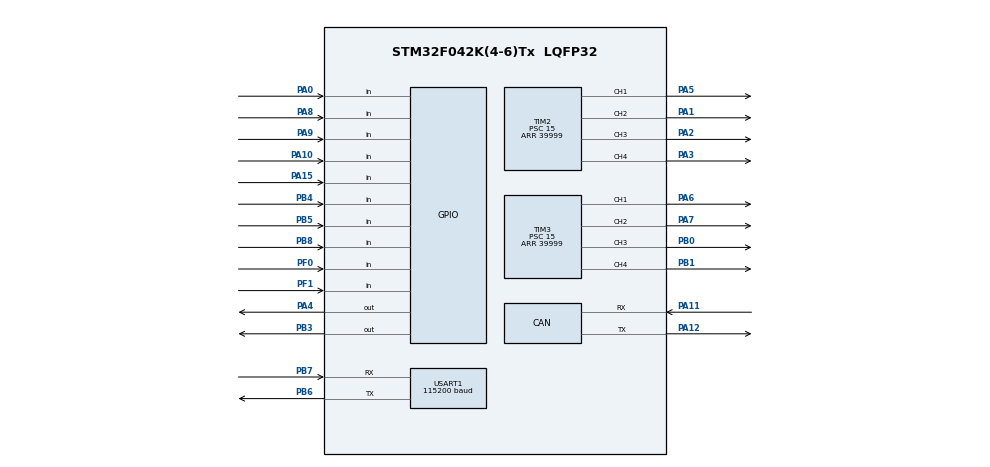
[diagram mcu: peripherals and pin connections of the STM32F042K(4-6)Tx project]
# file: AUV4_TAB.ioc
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CAN.CalculateTimeQuantum=2000.0
Mcu.Family=STM32F0
Mcu.Name=STM32F042K(4-6)Tx
Mcu.Package=LQFP32
NVIC.CEC_CAN_IRQn=true\:0\:0\:false\:true\:true\:2\:true\:true
NVIC.USART1_IRQn=true\:0\:0\:false\:true\:true\:1\:true\:true
PA0.GPIO_PuPd=GPIO_PULLDOWN
PA0.Signal=GPIO_Input
PA1.Signal=S_TIM2_CH2
PA10.GPIO_PuPd=GPIO_PULLDOWN
PA10.Signal=GPIO_Input
PA11.Mode=Master
PA11.Signal=CAN_RX
PA12.Mode=Master
PA12.Signal=CAN_TX
PA13.Mode=Serial_Wire
PA13.Signal=SYS_SWDIO
PA14.Mode=Serial_Wire
PA14.Signal=SYS_SWCLK
PA15.GPIO_PuPd=GPIO_PULLDOWN
PA15.Signal=GPIO_Input
PA2.Signal=S_TIM2_CH3
PA3.Signal=S_TIM2_CH4
PA4.Signal=GPIO_Output
PA5.Signal=S_TIM2_CH1_ETR
PA6.Signal=S_TIM3_CH1
PA7.Signal=S_TIM3_CH2
PA8.GPIO_PuPd=GPIO_PULLDOWN
PA8.Signal=GPIO_Input
PA9.GPIO_PuPd=GPIO_PULLDOWN
PA9.Signal=GPIO_Input
PB0.Signal=S_TIM3_CH3
PB1.Signal=S_TIM3_CH4
PB3.Signal=GPIO_Output
PB4.GPIO_PuPd=GPIO_PULLDOWN
PB4.Signal=GPIO_Input
PB5.GPIO_PuPd=GPIO_PULLDOWN
PB5.Signal=GPIO_Input
PB6.Mode=Asynchronous
PB6.Signal=USART1_TX
PB7.Mode=Asynchronous
PB7.Signal=USART1_RX
PB8.GPIO_PuPd=GPIO_PULLDOWN
PB8.Signal=GPIO_Input
PF0-OSC_IN.GPIO_PuPd=GPIO_PULLDOWN
PF0-OSC_IN.Signal=GPIO_Input
PF1-OSC_OUT.GPIO_PuPd=GPIO_PULLDOWN
PF1-OSC_OUT.Signal=GPIO_Input
ProjectManager.HeapSize=0x200
ProjectManager.StackSize=0x400
ProjectManager.TargetToolchain=STM32CubeIDE
RCC.AHBFreq_Value=8000000
RCC.APB1Freq_Value=8000000
RCC.APB1TimFreq_Value=8000000
RCC.HCLKFreq_Value=8000000
RCC.HSE_VALUE=32000000
RCC.SYSCLKFreq_VALUE=8000000
SH.S_TIM2_CH1_ETR.0=TIM2_CH1,PWM Generation1 CH1
SH.S_TIM2_CH2.0=TIM2_CH2,PWM Generation2 CH2
SH.S_TIM2_CH3.0=TIM2_CH3,PWM Generation3 CH3
SH.S_TIM2_CH4.0=TIM2_CH4,PWM Generation4 CH4
SH.S_TIM3_CH1.0=TIM3_CH1,PWM Generation1 CH1
SH.S_TIM3_CH2.0=TIM3_CH2,PWM Generation2 CH2
SH.S_TIM3_CH3.0=TIM3_CH3,PWM Generation3 CH3
SH.S_TIM3_CH4.0=TIM3_CH4,PWM Generation4 CH4
TIM2.Channel-PWM\ Generation1\ CH1=TIM_CHANNEL_1
TIM2.Channel-PWM\ Generation2\ CH2=TIM_CHANNEL_2
TIM2.Channel-PWM\ Generation3\ CH3=TIM_CHANNEL_3
TIM2.Channel-PWM\ Generation4\ CH4=TIM_CHANNEL_4
TIM2.Period=39999
TIM2.Prescaler=15
TIM2.Pulse-PWM\ Generation1\ CH1=2999
TIM2.Pulse-PWM\ Generation2\ CH2=2999
TIM2.Pulse-PWM\ Generation3\ CH3=2999
TIM2.Pulse-PWM\ Generation4\ CH4=2999
TIM3.Channel-PWM\ Generation1\ CH1=TIM_CHANNEL_1
TIM3.Channel-PWM\ Generation2\ CH2=TIM_CHANNEL_2
TIM3.Channel-PWM\ Generation3\ CH3=TIM_CHANNEL_3
TIM3.Channel-PWM\ Generation4\ CH4=TIM_CHANNEL_4
TIM3.Period=39999
TIM3.Prescaler=15
TIM3.Pulse-PWM\ Generation1\ CH1=2999
TIM3.Pulse-PWM\ Generation2\ CH2=2999
TIM3.Pulse-PWM\ Generation3\ CH3=2999
TIM3.Pulse-PWM\ Generation4\ CH4=2999
USART1.BaudRate=115200
USART1.VirtualMode-Asynchronous=VM_ASYNC
VP_TIM2_VS_ClockSourceINT.Mode=Internal
VP_TIM3_VS_ClockSourceINT.Mode=Internal
board=custom

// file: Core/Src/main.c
/* USER CODE BEGIN Header */
/**
  ******************************************************************************
  * @file           : main.c
  * @brief          : Main program body
  ******************************************************************************
  * @attention
  *
  * <h2><center>&copy; Copyright (c) 2020 STMicroelectronics.
  * All rights reserved.</center></h2>
  *
  * This software component is licensed by ST under BSD 3-Clause license,
  * the "License"; You may not use this file except in compliance with the
  * License. You may obtain a copy of the License at:
  *                        opensource.org/licenses/BSD-3-Clause
  *
  ******************************************************************************
  */
/* USER CODE END Header */

#include "main.h"
#include <stdlib.h>

/* USER CODE BEGIN Includes */
#include "can_lib.h"
/* USER CODE END Includes */

/* USER CODE BEGIN PD */
#define SIGNATURE 0x3F
/* USER CODE END PD */

CAN_HandleTypeDef hcan;

TIM_HandleTypeDef htim2;
TIM_HandleTypeDef htim3;

UART_HandleTypeDef huart1;

void SystemClock_Config(void);
static void MX_GPIO_Init(void);
static void MX_CAN_Init(void);
static void MX_TIM2_Init(void);
static void MX_TIM3_Init(void);
static void MX_USART1_UART_Init(void);
static void MX_NVIC_Init(void);
/* USER CODE BEGIN PFP */
void Set_PWM(TIM_HandleTypeDef *htim, uint32_t Channel, uint16_t val);
void checkCANmsg(void);

void CAN_RecvStart();

/* USER CODE END PFP */

/* USER CODE BEGIN 0 */
// CAN Buffer
uint8_t bufFifo0[8] = {0};
uint8_t bufFifo1[8] = {0};

// CAN Tick
uint32_t prevHBTick = 0;
uint32_t prevPWMTick = 0;
uint32_t prevConfigTick = 0;

// Thruster RPM
uint16_t thruster1RPM = 0;
uint16_t thruster2RPM = 0;
uint16_t thruster3RPM = 0;
uint16_t thruster4RPM = 0;
uint16_t thruster5RPM = 0;
uint16_t thruster6RPM = 0;
uint16_t thruster7RPM = 0;
uint16_t thruster8RPM = 0;

// CAN Update Interval
uint16_t rpmInterval = 1000;
uint16_t pwmInterval = 1000;
uint16_t statusInterval = 1000;
uint16_t actInterval = 1000;

//thruster latch
uint32_t prevframe1tick = 0;
uint32_t prevframe2tick = 0;
uint32_t frame1flag = 0;
uint32_t frame2flag = 0;
uint32_t frame1interval = 500;
uint32_t frame2interval = 500;

// CAN
uint8_t* CAN_recvMsgBuf;
uint8_t CAN_WP = 0;
uint8_t CAN_RP = 0;
uint8_t CAN_full = 0;

/* USER CODE END 0 */

int main(void)
{

  /* MCU Configuration--------------------------------------------------------*/

  /* Reset of all peripherals, Initializes the Flash interface and the Systick. */
  HAL_Init();

  /* Configure the system clock */
  SystemClock_Config();

  /* Initialize all configured peripherals */
  MX_GPIO_Init();
  MX_CAN_Init();
  MX_TIM2_Init();
  MX_TIM3_Init();
  MX_USART1_UART_Init();

  /* Initialize interrupts */
  MX_NVIC_Init();
  /* USER CODE BEGIN 2 */
  CAN_Begin(CAN_MODE_NORMAL);
  CAN_SetFilter(0x0F, 0xF0, 0x0F, 0xF0, 1, CAN_RX_FIFO0);
  CAN_SetFilter(0x00, 0x00, 0x00, 0x00, 2, CAN_RX_FIFO1);
  CAN_RecvStart();

  HAL_TIM_PWM_Start_IT(&htim2, TIM_CHANNEL_1);
  HAL_TIM_PWM_Start_IT(&htim2, TIM_CHANNEL_2);
  HAL_TIM_PWM_Start_IT(&htim2, TIM_CHANNEL_3);
  HAL_TIM_PWM_Start_IT(&htim2, TIM_CHANNEL_4);

  HAL_TIM_PWM_Start_IT(&htim3, TIM_CHANNEL_1);
  HAL_TIM_PWM_Start_IT(&htim3, TIM_CHANNEL_2);
  HAL_TIM_PWM_Start_IT(&htim3, TIM_CHANNEL_3);
  HAL_TIM_PWM_Start_IT(&htim3, TIM_CHANNEL_4);
  /* USER CODE END 2 */

  do{
  		CAN_recvMsgBuf = (uint8_t*) malloc(256*sizeof(uint8_t));
  	} while (CAN_recvMsgBuf == NULL);
  CAN_RecvStart();

  /* Infinite loop */
  while (1)
  {
	  if (CAN_WP != CAN_RP ){
		  UpdatePWM();
	  }

    /* USER CODE BEGIN 3 */
//	  __HAL_TIM_SET_COMPARE(&htim3, TIM_CHANNEL_4, 2499);

	  if(frame1flag == 1)
	  {
		  prevframe1tick = HAL_GetTick();
		  frame1flag = 0;
	  }
	  if((HAL_GetTick() - prevframe1tick) >= frame1interval)
	  {
			__HAL_TIM_SET_COMPARE(&htim3, TIM_CHANNEL_1, 2999);
			__HAL_TIM_SET_COMPARE(&htim3, TIM_CHANNEL_2, 2999);
			__HAL_TIM_SET_COMPARE(&htim3, TIM_CHANNEL_3, 2999);
			__HAL_TIM_SET_COMPARE(&htim3, TIM_CHANNEL_4, 2999);
	  }

	  if(frame2flag == 1)
	  {
		  prevframe2tick = HAL_GetTick();
		  frame2flag = 0;
	  }
	  if((HAL_GetTick() - prevframe2tick) >= frame2interval)
	  {
			__HAL_TIM_SET_COMPARE(&htim2, TIM_CHANNEL_1, 2999);
			__HAL_TIM_SET_COMPARE(&htim2, TIM_CHANNEL_2, 2999);
			__HAL_TIM_SET_COMPARE(&htim2, TIM_CHANNEL_3, 2999);
			__HAL_TIM_SET_COMPARE(&htim2, TIM_CHANNEL_4, 2999);
	  }

	  // CAN Heartbeat
	  if((HAL_GetTick() - prevHBTick) >= 500)
	  {
		  uint8_t buf[1] = {0x04};
		  CAN_SendMsg(4, buf, 1);
		  HAL_GPIO_TogglePin(GPIOB, GPIO_PIN_3);
		  prevHBTick = HAL_GetTick();
	  }

	  // CAN PWM
	  if((HAL_GetTick() - prevPWMTick) >= 1000) //change back to 1000
	  {
		  uint8_t buf[8] = {0};

		  buf[0] = __HAL_TIM_GET_COMPARE(&htim3, TIM_CHANNEL_1) & 0x0FF;
		  buf[1] = (__HAL_TIM_GET_COMPARE(&htim3, TIM_CHANNEL_1) >> 8) & 0x0FF;
		  buf[2] = __HAL_TIM_GET_COMPARE(&htim3, TIM_CHANNEL_2) & 0x0FF;
		  buf[3] = (__HAL_TIM_GET_COMPARE(&htim3, TIM_CHANNEL_2) >> 8) & 0x0FF;
		  buf[4] = __HAL_TIM_GET_COMPARE(&htim3, TIM_CHANNEL_3)  & 0x0FF;
		  buf[5] = (__HAL_TIM_GET_COMPARE(&htim3, TIM_CHANNEL_3) >> 8) & 0x0FF;
		  buf[6] = __HAL_TIM_GET_COMPARE(&htim3, TIM_CHANNEL_4) & 0x0FF;
		  buf[7] = (__HAL_TIM_GET_COMPARE(&htim3, TIM_CHANNEL_4) >> 8) & 0x0FF;
		  CAN_SendMsg(19, buf, 8);

		  buf[0] = __HAL_TIM_GET_COMPARE(&htim2, TIM_CHANNEL_1) & 0x0FF;
		  buf[1] = (__HAL_TIM_GET_COMPARE(&htim2, TIM_CHANNEL_1) >> 8) & 0x0FF;
		  buf[2] = __HAL_TIM_GET_COMPARE(&htim2, TIM_CHANNEL_2) & 0x0FF;
		  buf[3] = (__HAL_TIM_GET_COMPARE(&htim2, TIM_CHANNEL_2) >> 8) & 0x0FF;
		  buf[4] = __HAL_TIM_GET_COMPARE(&htim2, TIM_CHANNEL_3)  & 0x0FF;
	  	  buf[5] = (__HAL_TIM_GET_COMPARE(&htim2, TIM_CHANNEL_3) >> 8) & 0x0FF;
		  buf[6] = __HAL_TIM_GET_COMPARE(&htim2, TIM_CHANNEL_4) & 0x0FF;
		  buf[7] = (__HAL_TIM_GET_COMPARE(&htim2, TIM_CHANNEL_4) >> 8) & 0x0FF;
		  CAN_SendMsg(20, buf, 8);

		  prevPWMTick = HAL_GetTick();
	  }

	  // CAN RPM
	  if((HAL_GetTick() - prevConfigTick) >= 1000)
	  {
		  uint8_t buf[8] = {0};

		  buf[0] = thruster1RPM & 0x0FF;
		  buf[1] = (thruster1RPM >> 8) & 0x0FF;
		  buf[2] = thruster2RPM & 0x0FF;
		  buf[3] = (thruster2RPM >> 8) & 0x0FF;
		  buf[4] = thruster3RPM & 0x0FF;
		  buf[5] = (thruster3RPM >> 8) & 0x0FF;
		  buf[6] = thruster4RPM & 0x0FF;
		  buf[7] = (thruster4RPM >> 8) & 0x0FF;
		  CAN_SendMsg(17, buf, 8);

		  buf[0] = thruster5RPM & 0x0FF;
		  buf[1] = (thruster5RPM >> 8) & 0x0FF;
		  buf[2] = thruster6RPM & 0x0FF;
		  buf[3] = (thruster6RPM >> 8) & 0x0FF;
		  buf[4] = thruster7RPM & 0x0FF;
		  buf[5] = (thruster7RPM >> 8) & 0x0FF;
		  buf[6] = thruster8RPM & 0x0FF;
		  buf[7] = (thruster8RPM >> 8) & 0x0FF;
		  CAN_SendMsg(18, buf, 8);

		  prevConfigTick = HAL_GetTick();
	  }

	  // CAN Status
	  if((HAL_GetTick() - prevConfigTick) >= 1000)
	  {
		  uint8_t buf[8] = {0};

		  uint16_t uptime = (HAL_GetTick() >> 9) & 0x00FF;

		  buf[7] = (uptime >> 8) & 0x00FF;
		  buf[6] = uptime & 0x00FF;
		  buf[5] = SIGNATURE;

		  CAN_SendMsg(22, buf, 8);
		  prevConfigTick = HAL_GetTick();
	  }
  }
  /* USER CODE END 3 */
}

void SystemClock_Config(void)
{
  RCC_OscInitTypeDef RCC_OscInitStruct = {0};
  RCC_ClkInitTypeDef RCC_ClkInitStruct = {0};
  RCC_PeriphCLKInitTypeDef PeriphClkInit = {0};

  /** Initializes the CPU, AHB and APB busses clocks
  */
  RCC_OscInitStruct.OscillatorType = RCC_OSCILLATORTYPE_HSI48;
  RCC_OscInitStruct.HSI48State = RCC_HSI48_ON;
  RCC_OscInitStruct.PLL.PLLState = RCC_PLL_NONE;
  if (HAL_RCC_OscConfig(&RCC_OscInitStruct) != HAL_OK)
  {
    Error_Handler();
  }
  /** Initializes the CPU, AHB and APB busses clocks
  */
  RCC_ClkInitStruct.ClockType = RCC_CLOCKTYPE_HCLK|RCC_CLOCKTYPE_SYSCLK
                              |RCC_CLOCKTYPE_PCLK1;
  RCC_ClkInitStruct.SYSCLKSource = RCC_SYSCLKSOURCE_HSI48;
  RCC_ClkInitStruct.AHBCLKDivider = RCC_SYSCLK_DIV1;
  RCC_ClkInitStruct.APB1CLKDivider = RCC_HCLK_DIV1;

  if (HAL_RCC_ClockConfig(&RCC_ClkInitStruct, FLASH_LATENCY_1) != HAL_OK)
  {
    Error_Handler();
  }
  PeriphClkInit.PeriphClockSelection = RCC_PERIPHCLK_USART1;
  PeriphClkInit.Usart1ClockSelection = RCC_USART1CLKSOURCE_PCLK1;
  if (HAL_RCCEx_PeriphCLKConfig(&PeriphClkInit) != HAL_OK)
  {
    Error_Handler();
  }
}

/**
  * @brief NVIC Configuration.
  * @retval None
  */
static void MX_NVIC_Init(void)
{
  /* USART1_IRQn interrupt configuration */
  HAL_NVIC_SetPriority(USART1_IRQn, 0, 0);
  HAL_NVIC_EnableIRQ(USART1_IRQn);
  /* CEC_CAN_IRQn interrupt configuration */
  HAL_NVIC_SetPriority(CEC_CAN_IRQn, 0, 0);
  HAL_NVIC_EnableIRQ(CEC_CAN_IRQn);
}

static void MX_CAN_Init(void)
{

  hcan.Instance = CAN;
  hcan.Init.Prescaler = 3;
  hcan.Init.Mode = CAN_MODE_NORMAL;
  hcan.Init.SyncJumpWidth = CAN_SJW_1TQ;
  hcan.Init.TimeSeg1 = CAN_BS1_13TQ;
  hcan.Init.TimeSeg2 = CAN_BS2_2TQ;
  hcan.Init.TimeTriggeredMode = DISABLE;
  hcan.Init.AutoBusOff = DISABLE;
  hcan.Init.AutoWakeUp = DISABLE;
  hcan.Init.AutoRetransmission = DISABLE;
  hcan.Init.ReceiveFifoLocked = DISABLE;
  hcan.Init.TransmitFifoPriority = DISABLE;
  if (HAL_CAN_Init(&hcan) != HAL_OK)
  {
    Error_Handler();
  }

}

static void MX_TIM2_Init(void)
{

  TIM_ClockConfigTypeDef sClockSourceConfig = {0};
  TIM_MasterConfigTypeDef sMasterConfig = {0};
  TIM_OC_InitTypeDef sConfigOC = {0};

  htim2.Instance = TIM2;
  htim2.Init.Prescaler = 23;
  htim2.Init.CounterMode = TIM_COUNTERMODE_UP;
  htim2.Init.Period = 39999;
  htim2.Init.ClockDivision = TIM_CLOCKDIVISION_DIV1;
  htim2.Init.AutoReloadPreload = TIM_AUTORELOAD_PRELOAD_DISABLE;
  if (HAL_TIM_Base_Init(&htim2) != HAL_OK)
  {
    Error_Handler();
  }
  sClockSourceConfig.ClockSource = TIM_CLOCKSOURCE_INTERNAL;
  if (HAL_TIM_ConfigClockSource(&htim2, &sClockSourceConfig) != HAL_OK)
  {
    Error_Handler();
  }
  if (HAL_TIM_PWM_Init(&htim2) != HAL_OK)
  {
    Error_Handler();
  }
  sMasterConfig.MasterOutputTrigger = TIM_TRGO_RESET;
  sMasterConfig.MasterSlaveMode = TIM_MASTERSLAVEMODE_DISABLE;
  if (HAL_TIMEx_MasterConfigSynchronization(&htim2, &sMasterConfig) != HAL_OK)
  {
    Error_Handler();
  }
  sConfigOC.OCMode = TIM_OCMODE_PWM1;
  sConfigOC.Pulse = 2999;
  sConfigOC.OCPolarity = TIM_OCPOLARITY_HIGH;
  sConfigOC.OCFastMode = TIM_OCFAST_DISABLE;
  if (HAL_TIM_PWM_ConfigChannel(&htim2, &sConfigOC, TIM_CHANNEL_1) != HAL_OK)
  {
    Error_Handler();
  }
  if (HAL_TIM_PWM_ConfigChannel(&htim2, &sConfigOC, TIM_CHANNEL_2) != HAL_OK)
  {
    Error_Handler();
  }
  if (HAL_TIM_PWM_ConfigChannel(&htim2, &sConfigOC, TIM_CHANNEL_3) != HAL_OK)
  {
    Error_Handler();
  }
  if (HAL_TIM_PWM_ConfigChannel(&htim2, &sConfigOC, TIM_CHANNEL_4) != HAL_OK)
  {
    Error_Handler();
  }
  HAL_TIM_MspPostInit(&htim2);

}

static void MX_TIM3_Init(void)
{

  TIM_ClockConfigTypeDef sClockSourceConfig = {0};
  TIM_MasterConfigTypeDef sMasterConfig = {0};
  TIM_OC_InitTypeDef sConfigOC = {0};

  htim3.Instance = TIM3;
  htim3.Init.Prescaler = 23;
  htim3.Init.CounterMode = TIM_COUNTERMODE_UP;
  htim3.Init.Period = 39999;
  htim3.Init.ClockDivision = TIM_CLOCKDIVISION_DIV1;
  htim3.Init.AutoReloadPreload = TIM_AUTORELOAD_PRELOAD_DISABLE;
  if (HAL_TIM_Base_Init(&htim3) != HAL_OK)
  {
    Error_Handler();
  }
  sClockSourceConfig.ClockSource = TIM_CLOCKSOURCE_INTERNAL;
  if (HAL_TIM_ConfigClockSource(&htim3, &sClockSourceConfig) != HAL_OK)
  {
    Error_Handler();
  }
  if (HAL_TIM_PWM_Init(&htim3) != HAL_OK)
  {
    Error_Handler();
  }
  sMasterConfig.MasterOutputTrigger = TIM_TRGO_RESET;
  sMasterConfig.MasterSlaveMode = TIM_MASTERSLAVEMODE_DISABLE;
  if (HAL_TIMEx_MasterConfigSynchronization(&htim3, &sMasterConfig) != HAL_OK)
  {
    Error_Handler();
  }
  sConfigOC.OCMode = TIM_OCMODE_PWM1;
  sConfigOC.Pulse = 2999;
  sConfigOC.OCPolarity = TIM_OCPOLARITY_HIGH;
  sConfigOC.OCFastMode = TIM_OCFAST_DISABLE;
  if (HAL_TIM_PWM_ConfigChannel(&htim3, &sConfigOC, TIM_CHANNEL_1) != HAL_OK)
  {
    Error_Handler();
  }
  if (HAL_TIM_PWM_ConfigChannel(&htim3, &sConfigOC, TIM_CHANNEL_2) != HAL_OK)
  {
    Error_Handler();
  }
  if (HAL_TIM_PWM_ConfigChannel(&htim3, &sConfigOC, TIM_CHANNEL_3) != HAL_OK)
  {
    Error_Handler();
  }
  if (HAL_TIM_PWM_ConfigChannel(&htim3, &sConfigOC, TIM_CHANNEL_4) != HAL_OK)
  {
    Error_Handler();
  }
  HAL_TIM_MspPostInit(&htim3);

}

static void MX_USART1_UART_Init(void)
{

  huart1.Instance = USART1;
  huart1.Init.BaudRate = 115200;
  huart1.Init.WordLength = UART_WORDLENGTH_8B;
  huart1.Init.StopBits = UART_STOPBITS_1;
  huart1.Init.Parity = UART_PARITY_NONE;
  huart1.Init.Mode = UART_MODE_TX_RX;
  huart1.Init.HwFlowCtl = UART_HWCONTROL_NONE;
  huart1.Init.OverSampling = UART_OVERSAMPLING_16;
  huart1.Init.OneBitSampling = UART_ONE_BIT_SAMPLE_DISABLE;
  huart1.AdvancedInit.AdvFeatureInit = UART_ADVFEATURE_NO_INIT;
  if (HAL_UART_Init(&huart1) != HAL_OK)
  {
    Error_Handler();
  }

}

static void MX_GPIO_Init(void)
{
  GPIO_InitTypeDef GPIO_InitStruct = {0};

  /* GPIO Ports Clock Enable */
  __HAL_RCC_GPIOF_CLK_ENABLE();
  __HAL_RCC_GPIOA_CLK_ENABLE();
  __HAL_RCC_GPIOB_CLK_ENABLE();

  /*Configure GPIO pin Output Level */
  HAL_GPIO_WritePin(GPIOA, GPIO_PIN_4, GPIO_PIN_RESET);

  /*Configure GPIO pin Output Level */
  HAL_GPIO_WritePin(GPIOB, GPIO_PIN_3, GPIO_PIN_RESET);

  /*Configure GPIO pins : PF0 PF1 */
  GPIO_InitStruct.Pin = GPIO_PIN_0|GPIO_PIN_1;
  GPIO_InitStruct.Mode = GPIO_MODE_INPUT;
  GPIO_InitStruct.Pull = GPIO_PULLDOWN;
  HAL_GPIO_Init(GPIOF, &GPIO_InitStruct);

  /*Configure GPIO pin : PA4 */
  GPIO_InitStruct.Pin = GPIO_PIN_4;
  GPIO_InitStruct.Mode = GPIO_MODE_OUTPUT_PP;
  GPIO_InitStruct.Pull = GPIO_NOPULL;
  GPIO_InitStruct.Speed = GPIO_SPEED_FREQ_LOW;
  HAL_GPIO_Init(GPIOA, &GPIO_InitStruct);

  /*Configure GPIO pins : PA5 PA8 PA9 PA10
                           PA15 */
  GPIO_InitStruct.Pin = GPIO_PIN_5|GPIO_PIN_8|GPIO_PIN_9|GPIO_PIN_10
                          |GPIO_PIN_15;
  GPIO_InitStruct.Mode = GPIO_MODE_INPUT;
  GPIO_InitStruct.Pull = GPIO_PULLDOWN;
  HAL_GPIO_Init(GPIOA, &GPIO_InitStruct);

  /*Configure GPIO pin : PB3 */
  GPIO_InitStruct.Pin = GPIO_PIN_3;
  GPIO_InitStruct.Mode = GPIO_MODE_OUTPUT_PP;
  GPIO_InitStruct.Pull = GPIO_NOPULL;
  GPIO_InitStruct.Speed = GPIO_SPEED_FREQ_LOW;
  HAL_GPIO_Init(GPIOB, &GPIO_InitStruct);

  /*Configure GPIO pins : PB4 PB5 */
  GPIO_InitStruct.Pin = GPIO_PIN_4|GPIO_PIN_5;
  GPIO_InitStruct.Mode = GPIO_MODE_INPUT;
  GPIO_InitStruct.Pull = GPIO_PULLDOWN;
  HAL_GPIO_Init(GPIOB, &GPIO_InitStruct);

  /*Configure GPIO pin : PB8 */
  GPIO_InitStruct.Pin = GPIO_PIN_8;
  GPIO_InitStruct.Mode = GPIO_MODE_INPUT;
  GPIO_InitStruct.Pull = GPIO_NOPULL;
  HAL_GPIO_Init(GPIOB, &GPIO_InitStruct);

}

/* USER CODE BEGIN 4 */

void UpdatePWM()
{
	uint8_t Id = CAN_recvMsgBuf[CAN_RP];
	uint8_t Size = CAN_recvMsgBuf[CAN_RP + 1];
	uint8_t i = 0;
	uint16_t val = 0;
	for ( i = 0 ; i < Size ; i++){	//fill msg
				bufFifo0[i] = CAN_recvMsgBuf[CAN_RP+2+i];
	}
	if ( (Id == 1 || Id == 0) && Size != 8) {
		CAN_RP += (2 + Size);
		return;
	}
	if (Id == 0){
		for ( i = 0 ; i < Size ; i++){	//fill msg
			bufFifo0[i] = CAN_recvMsgBuf[CAN_RP+2+i];
		}
		val = (bufFifo0[1] << 8 | bufFifo0[0]) + 2499;
			// safety check
			if(val > 3499) val = 3499;
			if(val < 2499) val = 2499;
			__HAL_TIM_SET_COMPARE(&htim3, TIM_CHANNEL_1, val);

			val = (bufFifo0[3] << 8 | bufFifo0[2]) + 2499;
			// safety check
			if(val > 3499) val = 3499;
			if(val < 2499)
			{
				val = 2499;
			}
			__HAL_TIM_SET_COMPARE(&htim3, TIM_CHANNEL_2, val);

			val = (bufFifo0[5] << 8 | bufFifo0[4]) + 2499;
			// safety check
			if(val > 3499) val = 3499;
			if(val < 2499) val = 2499;
			__HAL_TIM_SET_COMPARE(&htim3, TIM_CHANNEL_3, val);

			val = (bufFifo0[7] << 8 | bufFifo0[6]) + 2499;
			// safety check
			if(val > 3499) val = 3499;
			if(val < 2499) val = 2499;
			__HAL_TIM_SET_COMPARE(&htim3, TIM_CHANNEL_4, val);
			frame1flag = 1;

	}
	else if (Id == 1)
	{
		val = (bufFifo0[1] << 8 | bufFifo0[0]) + 2499;
		// safety check
		if(val > 3499) val = 3499;
		if(val < 2499)
		{
			val = 2499;
		}
		__HAL_TIM_SET_COMPARE(&htim2, TIM_CHANNEL_1, val);

		val = (bufFifo0[3] << 8 | bufFifo0[2]) + 2499;
		// safety check
		if(val > 3499) val = 3499;
		if(val < 2499)
			{
			val = 2499;
			}
		__HAL_TIM_SET_COMPARE(&htim2, TIM_CHANNEL_2, val);

		val = (bufFifo0[5] << 8 | bufFifo0[4]) + 2499;
		// safety check
		if(val > 3499) val = 3499;
		if(val < 2499)
			{
				val = 2499;
			}
		__HAL_TIM_SET_COMPARE(&htim2, TIM_CHANNEL_3, val);

		val = (bufFifo0[7] << 8 | bufFifo0[6]) + 2499;
		// safety check
		if(val > 3499) val = 3499;
		if(val < 2499)
			{
				val = 2499;
			}
		__HAL_TIM_SET_COMPARE(&htim2, TIM_CHANNEL_4, val);

		frame2flag = 1;
	}

	CAN_RP += (2 + Size);

	if (CAN_full && (((CAN_RP-CAN_WP)&0x00FF) >= 20)){	//if there are at least 24 free space, continue buffer. Otherwise drop.
		CAN_full = 0;
		CAN_RecvMsg(CAN_RX_FIFO1,CAN_recvMsgBuf+CAN_WP+2);	//save 1 space for ID and 1 for len
	}

}
//
//void HAL_CAN_RxFifo0MsgPendingCallback(CAN_HandleTypeDef *hcan)
//{
//	uint16_t val = 0;
//	// recv_databuf is library-wide data buffer
//	if (CAN_RecvMsg(CAN_RX_FIFO0, bufFifo0) == 10)
//		{
//			return;
//		};
//
//	switch(CAN_GetId()) {
//	// 1 ~ 4 Thruster Controls
//	case 0x00:
//		val = (bufFifo0[1] << 8 | bufFifo0[0]) + 2499;
//		// safety check
//		if(val > 3499) val = 3499;
//		if(val < 2499) val = 2499;
//		__HAL_TIM_SET_COMPARE(&htim3, TIM_CHANNEL_1, val);
//
//		val = (bufFifo0[3] << 8 | bufFifo0[2]) + 2499;
//		// safety check
//		if(val > 3499) val = 3499;
//		if(val < 2499) val = 2499;
//		__HAL_TIM_SET_COMPARE(&htim3, TIM_CHANNEL_2, val);
//
//		val = (bufFifo0[5] << 8 | bufFifo0[4]) + 2499;
//		// safety check
//		if(val > 3499) val = 3499;
//		if(val < 2499) val = 2499;
//		__HAL_TIM_SET_COMPARE(&htim3, TIM_CHANNEL_3, val);
//
//		val = (bufFifo0[7] << 8 | bufFifo0[6]) + 2499;
//		// safety check
//		if(val > 3499) val = 3499;
//		if(val < 2499) val = 2499;
//		__HAL_TIM_SET_COMPARE(&htim3, TIM_CHANNEL_4, val);
//
//		frame1flag = 1;
//		break;
//
//	// 5 ~ 8 Thruster Controls
//	case 0x01:
//		val = (bufFifo0[1] << 8 | bufFifo0[0]) + 2499;
//		// safety check
//		if(val > 3499) val = 3499;
//		if(val < 2499)
//			{
//				val = 2499;
//			}
//		__HAL_TIM_SET_COMPARE(&htim2, TIM_CHANNEL_1, val);
//
//		val = (bufFifo0[3] << 8 | bufFifo0[2]) + 2499;
//		// safety check
//		if(val > 3499) val = 3499;
//		if(val < 2499)
//			{
//			val = 2499;
//			}
//		__HAL_TIM_SET_COMPARE(&htim2, TIM_CHANNEL_2, val);
//
//		val = (bufFifo0[5] << 8 | bufFifo0[4]) + 2499;
//		// safety check
//		if(val > 3499) val = 3499;
//		if(val < 2499)
//			{
//				val = 2499;
//			}
//		__HAL_TIM_SET_COMPARE(&htim2, TIM_CHANNEL_3, val);
//
//		val = (bufFifo0[7] << 8 | bufFifo0[6]) + 2499;
//		// safety check
//		if(val > 3499) val = 3499;
//		if(val < 2499)
//			{
//				val = 2499;
//			}
//		__HAL_TIM_SET_COMPARE(&htim2, TIM_CHANNEL_4, val);
//
//		frame2flag = 1;
//		break;
//
//	// Actuation Controls
//	case 0x02:
//		break;
//
//	// TAB Config
//	case 0x06:
//		break;
//
//	// General Config
//	case 0x0A:
//		break;
//
//	}
//}

//void HAL_CAN_RxFifo1MsgPendingCallback(CAN_HandleTypeDef *hcan)
//{
//	// recv_databuf is library-wide data buffer
//	CAN_RecvMsg(CAN_RX_FIFO1, bufFifo1);
//}

void CAN_RecvStart()
{
	CAN_RecvMsg(CAN_RX_FIFO1,CAN_recvMsgBuf+CAN_WP+2);	//save 1 space for ID and 1 for len
	CAN_RecvMsg(CAN_RX_FIFO0,CAN_recvMsgBuf+CAN_WP+2);	//save 1 space for ID and 1 for len
}

void HAL_CAN_RxFifo0MsgPendingCallback(CAN_HandleTypeDef *hcan)
{
	CAN_recvMsgBuf[CAN_WP] = (uint8_t) (RxHeader.StdId);	//id
	CAN_recvMsgBuf[CAN_WP+1] = (uint8_t) (RxHeader.DLC);	//len
	CAN_WP += RxHeader.DLC + 2;	//increment WP

	//if no space to receive another full length message
	if (((((CAN_RP-CAN_WP)&0x00FF) < 10)&&(CAN_RP!=CAN_WP)) || CAN_full){
		CAN_full = 1;
		return;
	}
	CAN_RecvMsg(CAN_RX_FIFO0,CAN_recvMsgBuf+CAN_WP+2);	//save 1 space for ID and 1 for len
}

void HAL_CAN_RxFifo1MsgPendingCallback(CAN_HandleTypeDef *hcan)
{
	CAN_recvMsgBuf[CAN_WP] = (uint8_t) (RxHeader.StdId);	//id
	CAN_recvMsgBuf[CAN_WP+1] = (uint8_t) (RxHeader.DLC);	//len
	CAN_WP += RxHeader.DLC + 2;	//increment WP

	//if no space to receive another full length message
	if (((((CAN_RP-CAN_WP)&0x00FF) < 10)&&(CAN_RP!=CAN_WP)) || CAN_full){
		CAN_full = 1;
		return;
	}
	CAN_RecvMsg(CAN_RX_FIFO1,CAN_recvMsgBuf+CAN_WP+2);	//save 1 space for ID and 1 for len

}

/* USER CODE END 4 */

void Error_Handler(void)
{
}

/************************ (C) COPYRIGHT STMicroelectronics *****END OF FILE****/
